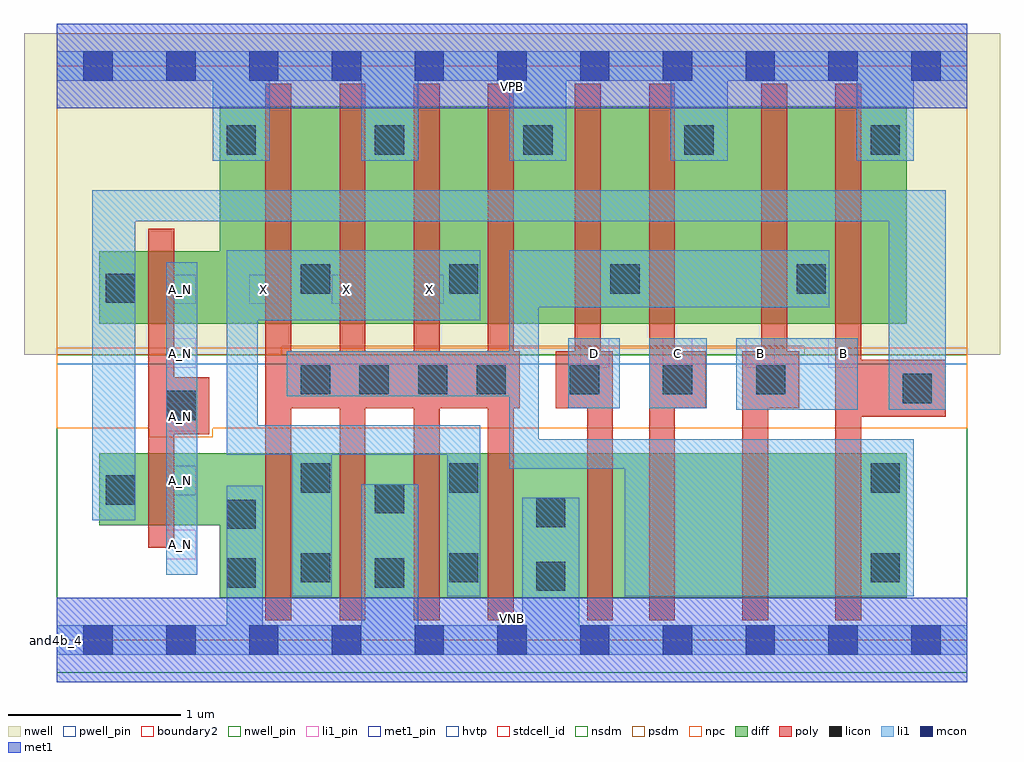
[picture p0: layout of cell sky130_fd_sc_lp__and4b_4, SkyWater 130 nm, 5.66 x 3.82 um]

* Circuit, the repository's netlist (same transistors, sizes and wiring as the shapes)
* Copyright 2020 The SkyWater PDK Authors
*
* Licensed under the Apache License, Version 2.0 (the "License");
* you may not use this file except in compliance with the License.
* You may obtain a copy of the License at
*
*     https://www.apache.org/licenses/LICENSE-2.0
*
* Unless required by applicable law or agreed to in writing, software
* distributed under the License is distributed on an "AS IS" BASIS,
* WITHOUT WARRANTIES OR CONDITIONS OF ANY KIND, either express or implied.
* See the License for the specific language governing permissions and
* limitations under the License.
*
* SPDX-License-Identifier: Apache-2.0

.SUBCKT sky130_fd_sc_lp__and4b_4 A_N B C D VGND VNB VPB VPWR X
*.PININFO A_N:I B:I C:I D:I VGND:I VNB:I VPB:I VPWR:I X:O
MMP0 y A VPWR VPB sky130_fd_pr__pfet_01v8_hvt m=1 w=1.26U l=0.15U mult=1 sa=0.265
+ sb=0.265 sd=0.28 area=0.063 perim=1.14
MMP1 y B VPWR VPB sky130_fd_pr__pfet_01v8_hvt m=1 w=1.26U l=0.15U mult=1 sa=0.265
+ sb=0.265 sd=0.28 area=0.063 perim=1.14
MMP2 y C VPWR VPB sky130_fd_pr__pfet_01v8_hvt m=1 w=1.26U l=0.15U mult=1 sa=0.265
+ sb=0.265 sd=0.28 area=0.063 perim=1.14
MMP3 y D VPWR VPB sky130_fd_pr__pfet_01v8_hvt m=1 w=1.26U l=0.15U mult=1 sa=0.265
+ sb=0.265 sd=0.28 area=0.063 perim=1.14
MMIP0 A A_N VPWR VPB sky130_fd_pr__pfet_01v8_hvt m=1 w=0.42U l=0.15U mult=1 sa=0.265
+ sb=0.265 sd=0.28 area=0.063 perim=1.14
MMIP1 X y VPWR VPB sky130_fd_pr__pfet_01v8_hvt m=4 w=1.26U l=0.15U mult=1 sa=0.265
+ sb=0.265 sd=0.28 area=0.063 perim=1.14
MMN0 y A sndA VNB sky130_fd_pr__nfet_01v8 m=1 w=0.84U l=0.15U mult=1 sa=0.265 sb=0.265
+ sd=0.28 area=0.063 perim=1.14
MMN1 sndA B sndB VNB sky130_fd_pr__nfet_01v8 m=1 w=0.84U l=0.15U mult=1 sa=0.265
+ sb=0.265 sd=0.28 area=0.063 perim=1.14
MMN2 sndB C sndC VNB sky130_fd_pr__nfet_01v8 m=1 w=0.84U l=0.15U mult=1 sa=0.265
+ sb=0.265 sd=0.28 area=0.063 perim=1.14
MMN3 sndC D VGND VNB sky130_fd_pr__nfet_01v8 m=1 w=0.84U l=0.15U mult=1 sa=0.265
+ sb=0.265 sd=0.28 area=0.063 perim=1.14
MMIN0 A A_N VGND VNB sky130_fd_pr__nfet_01v8 m=1 w=0.42U l=0.15U mult=1 sa=0.265
+ sb=0.265 sd=0.28 area=0.063 perim=1.14
MMIN1 X y VGND VNB sky130_fd_pr__nfet_01v8 m=4 w=0.84U l=0.15U mult=1 sa=0.265
+ sb=0.265 sd=0.28 area=0.063 perim=1.14
.ENDS sky130_fd_sc_lp__and4b_4

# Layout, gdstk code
import gdstk
lib = gdstk.Library(unit=1e-6, precision=1e-09)
def R(c, l, rs):  # rectangles x0, y0, x1, y1
    for r in rs: c.add(gdstk.rectangle(r[:2], r[2:], *l))
def A(c, l, x, y, w, h, nx, ny, dx, dy):  # array of equal rectangles
    R(c, l, [(x+i*dx, y+j*dy, x+i*dx+w, y+j*dy+h) for i in range(nx) for j in range(ny)])
def P(c, l, *ps):  # polygons
    for p in ps: c.add(gdstk.Polygon(p, *l))
nwell_pin = (64, 16)
nwell = (64, 20)
diff = (65, 20)
poly = (66, 20)
licon = (66, 44)
li1_pin = (67, 16)
li1 = (67, 20)
mcon = (67, 44)
met1_pin = (68, 16)
met1 = (68, 20)
hvtp = (78, 44)
stdcell_id = (81, 4)
nsdm = (93, 44)
psdm = (94, 20)
npc = (95, 20)
pwell_pin = (122, 16)
boundary2 = (236, 0)

sky130_fd_sc_lp__and4b_4 = lib.new_cell('sky130_fd_sc_lp__and4b_4')
R(sky130_fd_sc_lp__and4b_4, nwell_pin, [(0,3.085,5.28,3.33)])
R(sky130_fd_sc_lp__and4b_4, nwell, [(-0.19,1.655,5.47,3.52)])
P(sky130_fd_sc_lp__and4b_4, diff, [(4.93,3.095),(0.945,3.095),(0.945,2.255),(0.245,2.255),(0.245,1.835),(4.93,1.835)],
  [(4.93,1.085),(0.245,1.085),(0.245,0.665),(0.945,0.665),(0.945,0.245),(4.93,0.245)])
P(sky130_fd_sc_lp__and4b_4, poly, [(0.885,1.525),(0.68,1.525),(0.68,2.385),(0.53,2.385),(0.53,0.535),(0.68,0.535),(0.68,1.195),(0.885,1.195)],
  [(2.685,1.675),(2.65,1.675),(2.65,3.225),(2.5,3.225),(2.5,1.675),(2.22,1.675),(2.22,3.225),(2.07,3.225),(2.07,1.675),(1.79,1.675),(1.79,3.225),(1.64,3.225),(1.64,1.675),(1.36,1.675),(1.36,3.225),(1.21,3.225),(1.21,0.115),(1.36,0.115),(1.36,1.345),(1.64,1.345),(1.64,0.115),(1.79,0.115),(1.79,1.345),(2.07,1.345),(2.07,0.115),(2.22,0.115),(2.22,1.345),(2.5,1.345),(2.5,0.115),(2.65,0.115),(2.65,1.345),(2.685,1.345)],
  [(3.225,1.675),(3.155,1.675),(3.155,3.225),(3.005,3.225),(3.005,1.675),(2.895,1.675),(2.895,1.345),(3.075,1.345),(3.075,0.115),(3.225,0.115)],
  [(3.765,1.675),(3.585,1.675),(3.585,3.225),(3.435,3.225),(3.435,0.115),(3.585,0.115),(3.585,1.345),(3.765,1.345)],
  [(4.305,1.675),(4.235,1.675),(4.235,3.225),(4.085,3.225),(4.085,1.675),(3.975,1.675),(3.975,0.115),(4.125,0.115),(4.125,1.345),(4.305,1.345)],
  [(5.155,1.625),(4.665,1.625),(4.665,3.225),(4.515,3.225),(4.515,0.115),(4.665,0.115),(4.665,1.295),(5.155,1.295)])
A(sky130_fd_sc_lp__and4b_4, licon, 1.415, 1.425, 0.17, 0.17, 4, 1, 0.34, 0)
A(sky130_fd_sc_lp__and4b_4, licon, 2.975, 1.425, 0.17, 0.17, 3, 1, 0.54, 0)
A(sky130_fd_sc_lp__and4b_4, licon, 0.985, 2.815, 0.17, 0.17, 3, 1, 0.86, 0)
R(sky130_fd_sc_lp__and4b_4, licon, [(2.78,0.285,2.95,0.455), (0.985,0.305,1.155,0.475), (1.845,0.305,2.015,0.475), (1.415,0.335,1.585,0.505), (2.275,0.335,2.445,0.505), (4.72,0.335,4.89,0.505), (0.985,0.645,1.155,0.815), (2.78,0.655,2.95,0.825), (1.845,0.735,2.015,0.905), (0.285,0.785,0.455,0.955), (1.415,0.855,1.585,1.025), (2.275,0.855,2.445,1.025), (4.72,0.855,4.89,1.025), (0.635,1.275,0.805,1.445), (4.905,1.375,5.075,1.545), (0.285,1.955,0.455,2.125), (1.415,2.01,1.585,2.18), (2.275,2.01,2.445,2.18), (3.21,2.01,3.38,2.18), (4.29,2.01,4.46,2.18), (3.64,2.815,3.81,2.985), (4.72,2.815,4.89,2.985)])
A(sky130_fd_sc_lp__and4b_4, li1_pin, 0.635, 0.47, 0.17, 0.17, 1, 4, 0, 0.37)
A(sky130_fd_sc_lp__and4b_4, li1_pin, 3.035, 1.58, 0.17, 0.17, 4, 1, 0.48, 0)
A(sky130_fd_sc_lp__and4b_4, li1_pin, 0.635, 1.95, 0.17, 0.17, 4, 1, 0.48, 0)
R(sky130_fd_sc_lp__and4b_4, li1, [(0.635,0.38,0.815,2.19), (3.94,1.335,4.645,1.75), (2.965,1.345,3.265,1.75), (3.435,1.345,3.77,1.75)])
P(sky130_fd_sc_lp__and4b_4, li1, [(4.97,1.165),(2.795,1.165),(2.795,1.93),(4.48,1.93),(4.48,2.26),(2.625,2.26),(2.625,1.675),(1.335,1.675),(1.335,1.415),(2.625,1.415),(2.625,0.995),(3.295,0.995),(3.295,0.255),(4.97,0.255)],
  [(5.155,2.61),(0.205,2.61),(0.205,0.695),(0.455,0.695),(0.455,2.43),(4.825,2.43),(4.825,1.335),(5.155,1.335)],
  [(5.28,3.415),(0,3.415),(0,3.245),(0.905,3.245),(0.905,2.78),(1.235,2.78),(1.235,3.245),(1.765,3.245),(1.765,2.78),(2.095,2.78),(2.095,3.245),(2.625,3.245),(2.625,2.78),(2.955,2.78),(2.955,3.245),(3.56,3.245),(3.56,2.78),(3.89,2.78),(3.89,3.245),(4.64,3.245),(4.64,2.78),(4.97,2.78),(4.97,3.245),(5.28,3.245)],
  [(2.455,1.245),(1.165,1.245),(1.165,1.855),(2.455,1.855),(2.455,2.26),(0.985,2.26),(0.985,1.075),(1.365,1.075),(1.365,0.255),(1.595,0.255),(1.595,1.075),(2.265,1.075),(2.265,0.255),(2.455,0.255)],
  [(5.28,0.085),(3.03,0.085),(3.03,0.825),(2.7,0.825),(2.7,0.085),(2.095,0.085),(2.095,0.905),(1.765,0.905),(1.765,0.085),(1.195,0.085),(1.195,0.895),(0.985,0.895),(0.985,0.085),(0,0.085),(0,-0.085),(5.28,-0.085)])
A(sky130_fd_sc_lp__and4b_4, mcon, 0.155, -0.085, 0.17, 0.17, 11, 2, 0.48, 3.33)
R(sky130_fd_sc_lp__and4b_4, met1_pin, [(0,0,5.28,0.245), (0,3.085,5.28,3.33)])
R(sky130_fd_sc_lp__and4b_4, met1, [(0,-0.245,5.28,0.245), (0,3.085,5.28,3.575)])
R(sky130_fd_sc_lp__and4b_4, hvtp, [(0,1.6,5.28,3.33)])
R(sky130_fd_sc_lp__and4b_4, stdcell_id, [(0,0,5.28,3.33)])
R(sky130_fd_sc_lp__and4b_4, nsdm, [(0,-0.19,5.28,1.655)])
P(sky130_fd_sc_lp__and4b_4, psdm, [(5.28,3.52),(0,3.52),(0,1.655),(1.305,1.655),(1.305,1.705),(4.335,1.705),(4.335,1.655),(5.28,1.655)])
P(sky130_fd_sc_lp__and4b_4, npc, [(5.28,1.695),(0,1.695),(0,1.23),(0.535,1.23),(0.535,1.175),(0.905,1.175),(0.905,1.23),(5.28,1.23)])
R(sky130_fd_sc_lp__and4b_4, pwell_pin, [(0,0,5.28,0.245)])
R(sky130_fd_sc_lp__and4b_4, boundary2, [(0,0,5.28,3.33)])
sky130_fd_sc_lp__and4b_4.add(gdstk.Label('VNB', (2.64,0.123), layer=64, texttype=59))
sky130_fd_sc_lp__and4b_4.add(gdstk.Label('VPB', (2.64,3.208), layer=64, texttype=5))
sky130_fd_sc_lp__and4b_4.add(gdstk.Label('and4b_4', (0,0), layer=83, texttype=44))
sky130_fd_sc_lp__and4b_4.add(gdstk.Label('VPWR', (2.64,3.208), layer=68, texttype=5))
sky130_fd_sc_lp__and4b_4.add(gdstk.Label('VGND', (2.64,0.123), layer=68, texttype=5))
sky130_fd_sc_lp__and4b_4.add(gdstk.Label('B', (4.08,1.665), layer=67, texttype=5))
sky130_fd_sc_lp__and4b_4.add(gdstk.Label('B', (4.56,1.665), layer=67, texttype=5))
sky130_fd_sc_lp__and4b_4.add(gdstk.Label('C', (3.6,1.665), layer=67, texttype=5))
sky130_fd_sc_lp__and4b_4.add(gdstk.Label('D', (3.12,1.665), layer=67, texttype=5))
sky130_fd_sc_lp__and4b_4.add(gdstk.Label('A_N', (0.72,0.555), layer=67, texttype=5))
sky130_fd_sc_lp__and4b_4.add(gdstk.Label('A_N', (0.72,0.925), layer=67, texttype=5))
sky130_fd_sc_lp__and4b_4.add(gdstk.Label('A_N', (0.72,1.295), layer=67, texttype=5))
sky130_fd_sc_lp__and4b_4.add(gdstk.Label('A_N', (0.72,1.665), layer=67, texttype=5))
sky130_fd_sc_lp__and4b_4.add(gdstk.Label('A_N', (0.72,2.035), layer=67, texttype=5))
sky130_fd_sc_lp__and4b_4.add(gdstk.Label('X', (1.2,2.035), layer=67, texttype=5))
sky130_fd_sc_lp__and4b_4.add(gdstk.Label('X', (1.68,2.035), layer=67, texttype=5))
sky130_fd_sc_lp__and4b_4.add(gdstk.Label('X', (2.16,2.035), layer=67, texttype=5))

lib.write_gds('sky130_fd_sc_lp__and4b_4.gds')
